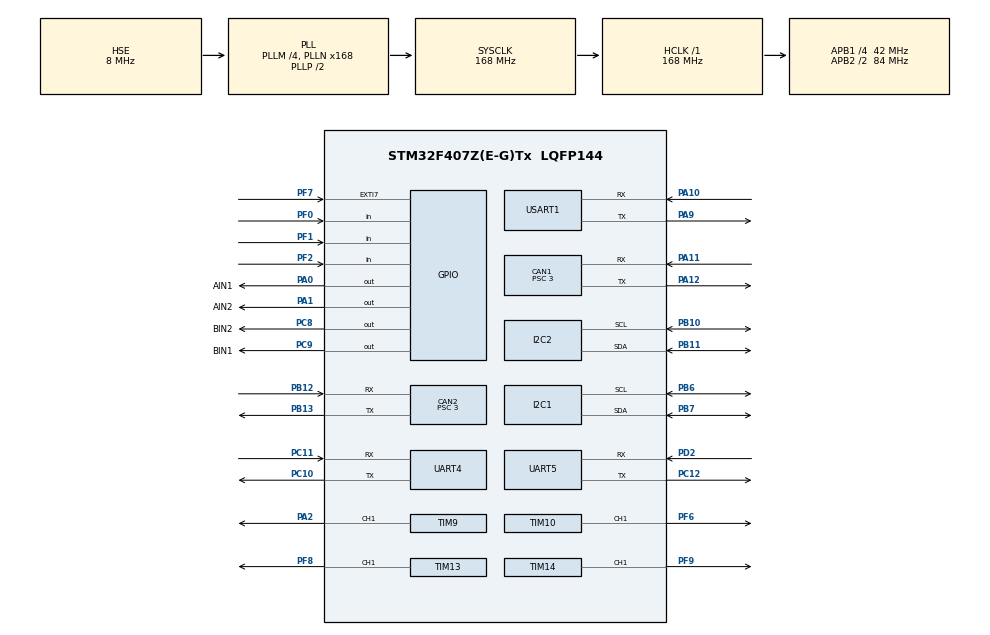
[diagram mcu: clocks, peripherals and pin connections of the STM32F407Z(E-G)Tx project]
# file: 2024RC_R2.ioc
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CAN1.ABOM=ENABLE
CAN1.BS1=CAN_BS1_9TQ
CAN1.BS2=CAN_BS2_4TQ
CAN1.CalculateBaudRate=1000000
CAN1.CalculateTimeBit=1000
CAN1.CalculateTimeQuantum=71.42857142857143
CAN1.Prescaler=3
CAN2.ABOM=ENABLE
CAN2.BS1=CAN_BS1_9TQ
CAN2.BS2=CAN_BS2_4TQ
CAN2.CalculateBaudRate=1000000
CAN2.CalculateTimeBit=1000
CAN2.CalculateTimeQuantum=71.42857142857143
CAN2.Prescaler=3
Dma.Request0=USART1_TX
Dma.Request1=USART1_RX
Dma.USART1_RX.1.Direction=DMA_PERIPH_TO_MEMORY
Dma.USART1_RX.1.FIFOMode=DMA_FIFOMODE_DISABLE
Dma.USART1_RX.1.Instance=DMA2_Stream2
Dma.USART1_RX.1.MemDataAlignment=DMA_MDATAALIGN_BYTE
Dma.USART1_RX.1.MemInc=DMA_MINC_ENABLE
Dma.USART1_RX.1.Mode=DMA_NORMAL
Dma.USART1_RX.1.PeriphDataAlignment=DMA_PDATAALIGN_BYTE
Dma.USART1_RX.1.PeriphInc=DMA_PINC_DISABLE
Dma.USART1_RX.1.Priority=DMA_PRIORITY_HIGH
Dma.USART1_TX.0.Direction=DMA_MEMORY_TO_PERIPH
Dma.USART1_TX.0.FIFOMode=DMA_FIFOMODE_DISABLE
Dma.USART1_TX.0.Instance=DMA2_Stream7
Dma.USART1_TX.0.MemDataAlignment=DMA_MDATAALIGN_BYTE
Dma.USART1_TX.0.MemInc=DMA_MINC_ENABLE
Dma.USART1_TX.0.Mode=DMA_CIRCULAR
Dma.USART1_TX.0.PeriphDataAlignment=DMA_PDATAALIGN_BYTE
Dma.USART1_TX.0.PeriphInc=DMA_PINC_DISABLE
Dma.USART1_TX.0.Priority=DMA_PRIORITY_HIGH
FREERTOS.Mutexes01=safe_printf,Dynamic,NULL
FREERTOS.Queues01=uart_queue,4,uint8_t,0,Dynamic,NULL,NULL
FREERTOS.Tasks01=defaultTask,8,128,StartDefaultTask,Default,NULL,Dynamic,NULL,NULL;ROS_32_Serial,24,512,ROS_32_Serial_Function,Default,NULL,Dynamic,NULL,NULL;Motor_Control,24,512,Motor_Control_Function,Default,NULL,Dynamic,NULL,NULL;U8_and_VESC,24,512,U8_and_VESC_Function,Default,NULL,Dynamic,NULL,NULL;upper_control,16,256,upper_control_f,Default,NULL,Dynamic,NULL,NULL;chassis_control,16,128,chassis_control_f,Default,NULL,Dynamic,NULL,NULL
Mcu.Family=STM32F4
Mcu.Name=STM32F407Z(E-G)Tx
Mcu.Package=LQFP144
NVIC.CAN1_RX0_IRQn=true\:2\:0\:true\:false\:true\:false\:true\:true\:true
NVIC.CAN1_RX1_IRQn=true\:2\:0\:true\:false\:true\:false\:true\:true\:true
NVIC.CAN1_SCE_IRQn=true\:2\:0\:true\:false\:true\:false\:true\:true\:true
NVIC.CAN1_TX_IRQn=true\:2\:0\:true\:false\:true\:false\:true\:true\:true
NVIC.CAN2_RX0_IRQn=true\:5\:0\:false\:false\:true\:true\:true\:true\:true
NVIC.CAN2_RX1_IRQn=true\:5\:0\:false\:false\:true\:true\:true\:true\:true
NVIC.CAN2_SCE_IRQn=true\:5\:0\:false\:false\:true\:true\:true\:true\:true
NVIC.CAN2_TX_IRQn=true\:5\:0\:false\:false\:true\:true\:true\:true\:true
NVIC.DMA2_Stream2_IRQn=true\:5\:0\:false\:false\:true\:true\:false\:true\:true
NVIC.DMA2_Stream7_IRQn=true\:5\:0\:false\:false\:true\:true\:false\:true\:true
NVIC.EXTI9_5_IRQn=true\:5\:0\:true\:false\:true\:false\:true\:true\:true
NVIC.PriorityGroup=NVIC_PRIORITYGROUP_4
NVIC.TIM2_IRQn=true\:5\:0\:false\:false\:true\:true\:true\:true\:true
NVIC.TIM3_IRQn=true\:15\:0\:false\:false\:true\:false\:false\:true\:true
NVIC.TimeBase=TIM3_IRQn
NVIC.TimeBaseIP=TIM3
NVIC.UART4_IRQn=true\:5\:0\:false\:false\:true\:true\:true\:true\:true
NVIC.UART5_IRQn=true\:5\:0\:false\:false\:true\:true\:true\:true\:true
NVIC.USART1_IRQn=true\:5\:0\:true\:false\:true\:true\:true\:true\:true
PA0-WKUP.GPIO_Label=AIN1
PA0-WKUP.Signal=GPIO_Output
PA1.GPIO_Label=AIN2
PA1.Signal=GPIO_Output
PA10.Mode=Asynchronous
PA10.Signal=USART1_RX
PA11.Mode=CAN_Activate
PA11.Signal=CAN1_RX
PA12.Mode=CAN_Activate
PA12.Signal=CAN1_TX
PA13.Mode=Serial_Wire
PA13.Signal=SYS_JTMS-SWDIO
PA14.Mode=Serial_Wire
PA14.Signal=SYS_JTCK-SWCLK
PA2.GPIO_PuPd=GPIO_PULLUP
PA2.GPIO_Speed=GPIO_SPEED_FREQ_HIGH
PA2.Signal=S_TIM9_CH1
PA9.Mode=Asynchronous
PA9.Signal=USART1_TX
PB10.Mode=I2C
PB10.Signal=I2C2_SCL
PB11.Mode=I2C
PB11.Signal=I2C2_SDA
PB12.Mode=CAN_Activate
PB12.Signal=CAN2_RX
PB13.Mode=CAN_Activate
PB13.Signal=CAN2_TX
PB6.Mode=I2C
PB6.Signal=I2C1_SCL
PB7.Mode=I2C
PB7.Signal=I2C1_SDA
PC10.GPIO_ModeDefaultPP=GPIO_MODE_AF_PP
PC10.GPIO_PuPd=GPIO_PULLUP
PC10.Mode=Asynchronous
PC10.Signal=UART4_TX
PC11.GPIO_PuPd=GPIO_PULLUP
PC11.Mode=Asynchronous
PC11.Signal=UART4_RX
PC12.GPIO_PuPd=GPIO_PULLUP
PC12.Mode=Asynchronous
PC12.Signal=UART5_TX
PC14-OSC32_IN.Mode=LSE-External-Oscillator
PC14-OSC32_IN.Signal=RCC_OSC32_IN
PC15-OSC32_OUT.Mode=LSE-External-Oscillator
PC15-OSC32_OUT.Signal=RCC_OSC32_OUT
PC8.GPIO_Label=BIN2
PC8.Signal=GPIO_Output
PC9.GPIO_Label=BIN1
PC9.Signal=GPIO_Output
PD2.GPIO_PuPd=GPIO_PULLUP
PD2.Mode=Asynchronous
PD2.Signal=UART5_RX
PF0.GPIO_PuPd=GPIO_PULLUP
PF0.Signal=GPIO_Input
PF1.GPIO_PuPd=GPIO_PULLUP
PF1.Signal=GPIO_Input
PF2.GPIO_PuPd=GPIO_PULLUP
PF2.Signal=GPIO_Input
PF6.GPIO_PuPd=GPIO_PULLUP
PF6.GPIO_Speed=GPIO_SPEED_FREQ_HIGH
PF6.Signal=S_TIM10_CH1
PF7.GPIO_PuPd=GPIO_NOPULL
PF7.Signal=GPXTI7
PF8.GPIO_PuPd=GPIO_PULLUP
PF8.GPIO_Speed=GPIO_SPEED_FREQ_HIGH
PF8.Signal=S_TIM13_CH1
PF9.GPIO_PuPd=GPIO_PULLUP
PF9.GPIO_Speed=GPIO_SPEED_FREQ_HIGH
PF9.Signal=S_TIM14_CH1
PH0-OSC_IN.Mode=HSE-External-Oscillator
PH0-OSC_IN.Signal=RCC_OSC_IN
PH1-OSC_OUT.Mode=HSE-External-Oscillator
PH1-OSC_OUT.Signal=RCC_OSC_OUT
ProjectManager.HeapSize=0x200
ProjectManager.StackSize=0x400
ProjectManager.TargetToolchain=MDK-ARM V5.32
RCC.48MHZClocksFreq_Value=84000000
RCC.AHBFreq_Value=168000000
RCC.APB1CLKDivider=RCC_HCLK_DIV4
RCC.APB1Freq_Value=42000000
RCC.APB1TimFreq_Value=84000000
RCC.APB2CLKDivider=RCC_HCLK_DIV2
RCC.APB2Freq_Value=84000000
RCC.APB2TimFreq_Value=168000000
RCC.CortexFreq_Value=168000000
RCC.HCLKFreq_Value=168000000
RCC.HSE_VALUE=8000000
RCC.HSI_VALUE=16000000
RCC.PLLM=4
RCC.PLLN=168
RCC.PLLSourceVirtual=RCC_PLLSOURCE_HSE
RCC.SYSCLKFreq_VALUE=168000000
RCC.SYSCLKSource=RCC_SYSCLKSOURCE_PLLCLK
RCC.VCOOutputFreq_Value=336000000
SH.S_TIM10_CH1.0=TIM10_CH1,PWM Generation1 CH1
SH.S_TIM13_CH1.0=TIM13_CH1,PWM Generation1 CH1
SH.S_TIM14_CH1.0=TIM14_CH1,PWM Generation1 CH1
SH.S_TIM9_CH1.0=TIM9_CH1,PWM Generation1 CH1
TIM10.AutoReloadPreload=TIM_AUTORELOAD_PRELOAD_ENABLE
TIM10.Channel=TIM_CHANNEL_1
TIM10.Period=19999
TIM10.Prescaler=83
TIM13.AutoReloadPreload=TIM_AUTORELOAD_PRELOAD_ENABLE
TIM13.Channel=TIM_CHANNEL_1
TIM13.Period=19999
TIM13.Prescaler=83
TIM14.AutoReloadPreload=TIM_AUTORELOAD_PRELOAD_ENABLE
TIM14.Channel=TIM_CHANNEL_1
TIM14.Period=19999
TIM14.Prescaler=83
TIM2.AutoReloadPreload=TIM_AUTORELOAD_PRELOAD_ENABLE
TIM2.Period=10000
TIM2.Prescaler=83
TIM9.AutoReloadPreload=TIM_AUTORELOAD_PRELOAD_ENABLE
TIM9.Channel-PWM\ Generation1\ CH1=TIM_CHANNEL_1
TIM9.Period=19999
TIM9.Prescaler=83
UART4.VirtualMode=Asynchronous
UART5.VirtualMode=Asynchronous
USART1.VirtualMode=VM_ASYNC
VP_FREERTOS_VS_CMSIS_V2.Mode=CMSIS_V2
VP_SYS_VS_tim3.Mode=TIM3
VP_TIM10_VS_ClockSourceINT.Mode=Enable_Timer
VP_TIM13_VS_ClockSourceINT.Mode=Enable_Timer
VP_TIM14_VS_ClockSourceINT.Mode=Enable_Timer
VP_TIM2_VS_ClockSourceINT.Mode=Internal
VP_TIM9_VS_ClockSourceINT.Mode=Internal
board=custom

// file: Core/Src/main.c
/* USER CODE BEGIN Header */
/**
  ******************************************************************************
  * @file           : main.c
  * @brief          : Main program body
  ******************************************************************************
  * @attention
  *
  * Copyright (c) 2023 STMicroelectronics.
  * All rights reserved.
  *
  * This software is licensed under terms that can be found in the LICENSE file
  * in the root directory of this software component.
  * If no LICENSE file comes with this software, it is provided AS-IS.
  *
  ******************************************************************************
  */
/* USER CODE END Header */
#include "main.h"
#include "cmsis_os.h"
#include "can.h"
#include "dma.h"
#include "i2c.h"
#include "tim.h"
#include "usart.h"
#include "gpio.h"

void SystemClock_Config(void);
void MX_FREERTOS_Init(void);

int main(void)
{

  /* MCU Configuration--------------------------------------------------------*/

  /* Reset of all peripherals, Initializes the Flash interface and the Systick. */
  HAL_Init();

  /* Configure the system clock */
  SystemClock_Config();

  /* Initialize all configured peripherals */
  MX_GPIO_Init();
  MX_DMA_Init();
  MX_CAN1_Init();
  MX_CAN2_Init();
  MX_USART1_UART_Init();
  MX_TIM2_Init();
  MX_UART5_Init();
  MX_TIM10_Init();
  MX_TIM13_Init();
  MX_TIM9_Init();
  MX_TIM14_Init();
  MX_UART4_Init();
  MX_I2C1_Init();
  MX_I2C2_Init();
  /* USER CODE BEGIN 2 */

    User_Open_Can1();
    User_Open_Can2();

    Pid_Init_All();
    Motor_Type_Init();
    VESC_Init();
    HAL_TIM_Base_Start_IT(&htim2);
    Move_Init();

    extern unsigned char USART_Receiver1;
    extern UART_HandleTypeDef huart1;
    HAL_UART_Receive_IT(&huart1, &USART_Receiver1, 1);
	HAL_UART_Receive_IT(&huart4,&USART_Receiver1, 1);

    HaoYing_U8_Init();
    extern uint8_t test;

  /* USER CODE END 2 */

  /* Init scheduler */
  osKernelInitialize();  /* Call init function for freertos objects (in freertos.c) */
  MX_FREERTOS_Init();

  /* Start scheduler */
  osKernelStart();
  /* We should never get here as control is now taken by the scheduler */
  /* Infinite loop */
  while (1)
  {

  }
}

void SystemClock_Config(void)
{
  RCC_OscInitTypeDef RCC_OscInitStruct = {0};
  RCC_ClkInitTypeDef RCC_ClkInitStruct = {0};

  /** Configure the main internal regulator output voltage
  */
  __HAL_RCC_PWR_CLK_ENABLE();
  __HAL_PWR_VOLTAGESCALING_CONFIG(PWR_REGULATOR_VOLTAGE_SCALE1);

  /** Initializes the RCC Oscillators according to the specified parameters
  * in the RCC_OscInitTypeDef structure.
  */
  RCC_OscInitStruct.OscillatorType = RCC_OSCILLATORTYPE_HSE;
  RCC_OscInitStruct.HSEState = RCC_HSE_ON;
  RCC_OscInitStruct.PLL.PLLState = RCC_PLL_ON;
  RCC_OscInitStruct.PLL.PLLSource = RCC_PLLSOURCE_HSE;
  RCC_OscInitStruct.PLL.PLLM = 4;
  RCC_OscInitStruct.PLL.PLLN = 168;
  RCC_OscInitStruct.PLL.PLLP = RCC_PLLP_DIV2;
  RCC_OscInitStruct.PLL.PLLQ = 4;
  if (HAL_RCC_OscConfig(&RCC_OscInitStruct) != HAL_OK)
  {
    Error_Handler();
  }

  /** Initializes the CPU, AHB and APB buses clocks
  */
  RCC_ClkInitStruct.ClockType = RCC_CLOCKTYPE_HCLK|RCC_CLOCKTYPE_SYSCLK
                              |RCC_CLOCKTYPE_PCLK1|RCC_CLOCKTYPE_PCLK2;
  RCC_ClkInitStruct.SYSCLKSource = RCC_SYSCLKSOURCE_PLLCLK;
  RCC_ClkInitStruct.AHBCLKDivider = RCC_SYSCLK_DIV1;
  RCC_ClkInitStruct.APB1CLKDivider = RCC_HCLK_DIV4;
  RCC_ClkInitStruct.APB2CLKDivider = RCC_HCLK_DIV2;

  if (HAL_RCC_ClockConfig(&RCC_ClkInitStruct, FLASH_LATENCY_5) != HAL_OK)
  {
    Error_Handler();
  }
}

/* USER CODE BEGIN 4 */
extern uint32_t TIME_ISR_CNT,LAST_TIME_ISR_CNT;
extern uint16_t Microsecond_Cnt;

/* USER CODE END 4 */

void HAL_TIM_PeriodElapsedCallback(TIM_HandleTypeDef *htim)
{
  if (htim->Instance == TIM3) {
    HAL_IncTick();
  }
  /* USER CODE BEGIN Callback 1 */

    if (htim->Instance == TIM2)  // tim2
    {

        LAST_TIME_ISR_CNT = TIME_ISR_CNT;
        TIME_ISR_CNT++;
        Microsecond_Cnt++;
        R2_CONTROLLER.ros_stm32_noconnected_cnt++;
        if(R2_CONTROLLER.ros_stm32_noconnected_cnt>=20)
          R2_CONTROLLER.ros_stm32_noconnected_flag = 1;
        if (Microsecond_Cnt >= 1000)
        {
          Microsecond_Cnt = 0;
          Time_Sys[Second]++;
        if (Time_Sys[Second] >= 60)
        {
            Time_Sys[Second] = 0;
            Time_Sys[Minute]++;
            if (Time_Sys[Minute] >= 60)
            {
            Time_Sys[Minute] = 0;
            Time_Sys[Hour]++;
            }
        }
        }
        Time_Sys[MicroSecond] = Microsecond_Cnt;
    }

  /* USER CODE END Callback 1 */
}

void Error_Handler(void)
{
  __disable_irq();
  while (1)
  {
  }
}

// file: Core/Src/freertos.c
/* USER CODE BEGIN Header */
/**
  ******************************************************************************
  * File Name          : freertos.c
  * Description        : Code for freertos applications
  ******************************************************************************
  * @attention
  *
  * Copyright (c) 2023 STMicroelectronics.
  * All rights reserved.
  *
  * This software is licensed under terms that can be found in the LICENSE file
  * in the root directory of this software component.
  * If no LICENSE file comes with this software, it is provided AS-IS.
  *
  ******************************************************************************
  */
/* USER CODE END Header */

#include "FreeRTOS.h"
#include "task.h"
#include "main.h"
#include "cmsis_os.h"

/* USER CODE BEGIN PM */
#define DEBUG_PRINTF_ENABLE 0
/* USER CODE END PM */

/* Definitions for defaultTask */
osThreadId_t defaultTaskHandle;
const osThreadAttr_t defaultTask_attributes = {
  .name = "defaultTask",
  .stack_size = 128 * 4,
  .priority = (osPriority_t) osPriorityLow,
};
/* Definitions for ROS_32_Serial */
osThreadId_t ROS_32_SerialHandle;
const osThreadAttr_t ROS_32_Serial_attributes = {
  .name = "ROS_32_Serial",
  .stack_size = 512 * 4,
  .priority = (osPriority_t) osPriorityNormal,
};
/* Definitions for Motor_Control */
osThreadId_t Motor_ControlHandle;
const osThreadAttr_t Motor_Control_attributes = {
  .name = "Motor_Control",
  .stack_size = 512 * 4,
  .priority = (osPriority_t) osPriorityNormal,
};
/* Definitions for U8_and_VESC */
osThreadId_t U8_and_VESCHandle;
const osThreadAttr_t U8_and_VESC_attributes = {
  .name = "U8_and_VESC",
  .stack_size = 512 * 4,
  .priority = (osPriority_t) osPriorityNormal,
};
/* Definitions for upper_control */
osThreadId_t upper_controlHandle;
const osThreadAttr_t upper_control_attributes = {
  .name = "upper_control",
  .stack_size = 256 * 4,
  .priority = (osPriority_t) osPriorityBelowNormal,
};
/* Definitions for chassis_control */
osThreadId_t chassis_controlHandle;
const osThreadAttr_t chassis_control_attributes = {
  .name = "chassis_control",
  .stack_size = 128 * 4,
  .priority = (osPriority_t) osPriorityBelowNormal,
};
/* Definitions for uart_queue */
osMessageQueueId_t uart_queueHandle;
const osMessageQueueAttr_t uart_queue_attributes = {
  .name = "uart_queue"
};
/* Definitions for safe_printf */
osMutexId_t safe_printfHandle;
const osMutexAttr_t safe_printf_attributes = {
  .name = "safe_printf"
};

/* USER CODE BEGIN FunctionPrototypes */
void debug_safe_printf(const char *format, ...)
{
#if DEBUG_PRINTF_ENABLE

  HAL_UART_MspInit(&huart5);

  osStatus xReturn;
  va_list args;
  va_start(args,format);

  xReturn = osMutexAcquire(safe_printfHandle,portMAX_DELAY);
  if(xReturn == osOK)
  {
    vprintf(format, args);
  }
  xReturn = osMutexRelease(safe_printfHandle);

#else
  HAL_UART_MspDeInit(&huart5);//为了用uart5进行串口数据传输的调试，不用时关�?
  (void)0;
#endif
}
/* USER CODE END FunctionPrototypes */

void StartDefaultTask(void *argument);
void ROS_32_Serial_Function(void *argument);
void Motor_Control_Function(void *argument);
void U8_and_VESC_Function(void *argument);
void upper_control_f(void *argument);
void chassis_control_f(void *argument);

void MX_FREERTOS_Init(void); /* (MISRA C 2004 rule 8.1) */

void MX_FREERTOS_Init(void) {
  /* Create the mutex(es) */
  /* creation of safe_printf */
  safe_printfHandle = osMutexNew(&safe_printf_attributes);

  /* Create the queue(s) */
  /* creation of uart_queue */
  uart_queueHandle = osMessageQueueNew (4, sizeof(uint8_t), &uart_queue_attributes);

  /* Create the thread(s) */
  /* creation of defaultTask */
  defaultTaskHandle = osThreadNew(StartDefaultTask, NULL, &defaultTask_attributes);

  /* creation of ROS_32_Serial */
  ROS_32_SerialHandle = osThreadNew(ROS_32_Serial_Function, NULL, &ROS_32_Serial_attributes);

  /* creation of Motor_Control */
  Motor_ControlHandle = osThreadNew(Motor_Control_Function, NULL, &Motor_Control_attributes);

  /* creation of U8_and_VESC */
  U8_and_VESCHandle = osThreadNew(U8_and_VESC_Function, NULL, &U8_and_VESC_attributes);

  /* creation of upper_control */
  upper_controlHandle = osThreadNew(upper_control_f, NULL, &upper_control_attributes);

  /* creation of chassis_control */
  chassis_controlHandle = osThreadNew(chassis_control_f, NULL, &chassis_control_attributes);

}

void StartDefaultTask(void *argument)
{
  /* USER CODE BEGIN StartDefaultTask */
    extern uint8_t test;
  /* Infinite loop */
  for(;;)
  {
    /* Infinite loop */
    for(;;)
    {
        //????
       // Fsm32();
      osDelay(10);
    }
  }
  /* USER CODE END StartDefaultTask */
}

void ROS_32_Serial_Function(void *argument)
{
  /* USER CODE BEGIN ROS_32_Serial_Function */

  /* Infinite loop */
  for(;;)
  {
    //the communication between ros and stm32
    Usart_Send_Data(R2_CONTROLLER.CURRENT_PB_STATE,R2_CONTROLLER.CURRENT_FW_STATE,R2_CONTROLLER.is_ball_in_car,0,1,0);
    osDelay(50);
  }
  /* USER CODE END ROS_32_Serial_Function */
}

void Motor_Control_Function(void *argument)
{
  /* USER CODE BEGIN Motor_Control_Function */

  /* Infinite loop */
  for(;;)
  {
    Motor_Control();
    osDelay(1);
  }
  /* USER CODE END Motor_Control_Function */
}

void U8_and_VESC_Function(void *argument)
{
  /* USER CODE BEGIN U8_and_VESC_Function */
  static int8_t cnt=0;
  /* Infinite loop */
  for(;;)
  {
    for(int i=0;i<2;i++)
      VESC_Control(&VESC_MOTO_INFO[i+cnt]);         //0 1 2 3 4 5
    cnt+=2;
    if(cnt>=6)
      cnt=0;
    osDelay(1);
  }
  /* USER CODE END U8_and_VESC_Function */
}

void upper_control_f(void *argument)
{
  /* USER CODE BEGIN upper_control_f */
  /* Infinite loop */
  for(;;)
  {
    //?????ros?
    ROS_Control();
    osDelay(5);
  }
  /* USER CODE END upper_control_f */
}

void chassis_control_f(void *argument)
{
  /* USER CODE BEGIN chassis_control_f */
  /* Infinite loop */
  for(;;)
  {
    //?????ros?
    Chassis_Controller();
    osDelay(5);
  }
  /* USER CODE END chassis_control_f */
}
